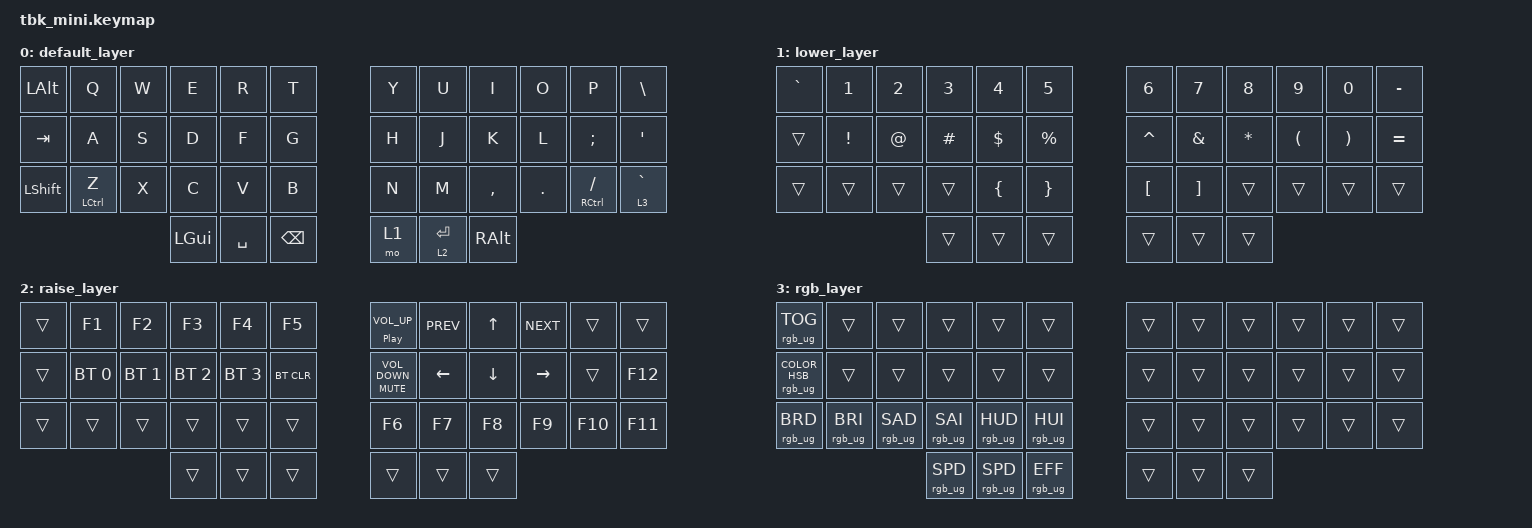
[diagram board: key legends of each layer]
#include <behaviors.dtsi>
#include <dt-bindings/zmk/bt.h>
#include <dt-bindings/zmk/keys.h>
#include <dt-bindings/zmk/rgb.h>

/ {
    combos {
        compatible = "zmk,combos";

        escape_combo {
            bindings = <&kp ESCAPE>;
            key-positions = <0 1>;
        };
    };

    behaviors {
        qrpi: qrpi {
            compatible = "zmk,behavior-hold-tap";
            label = "QRPI";
            bindings = <&kp>, <&kp>;

            #binding-cells = <2>;
            tapping-term-ms = <200>;
            require-prior-idle-ms = <150>;
            flavor = "tap-preferred";
        };
    };

    keymap {
        compatible = "zmk,keymap";

        default_layer {
            bindings = <
&kp LEFT_ALT    &kp Q                 &kp W  &kp E     &kp R      &kp T          &kp Y  &kp U      &kp I      &kp O    &kp P                    &kp BACKSLASH
&kp TAB         &kp A                 &kp S  &kp D     &kp F      &kp G          &kp H  &kp J      &kp K      &kp L    &kp SEMI                 &kp SQT
&kp LEFT_SHIFT  &qrpi LEFT_CONTROL Z  &kp X  &kp C     &kp V      &kp B          &kp N  &kp M      &kp COMMA  &kp DOT  &mt RIGHT_CONTROL SLASH  &lt 3 GRAVE
                                             &kp LGUI  &kp SPACE  &kp BACKSPACE  &mo 1  &lt 2 RET  &kp RALT
            >;
        };

        lower_layer {
            bindings = <
&kp GRAVE  &kp N1           &kp N2       &kp N3    &kp N4          &kp N5           &kp N6            &kp N7             &kp N8        &kp N9                &kp N0                 &kp MINUS
&trans     &kp EXCLAMATION  &kp AT_SIGN  &kp HASH  &kp DOLLAR      &kp PERCENT      &kp CARET         &kp AMPERSAND      &kp ASTERISK  &kp LEFT_PARENTHESIS  &kp RIGHT_PARENTHESIS  &kp EQUAL
&trans     &trans           &trans       &trans    &kp LEFT_BRACE  &kp RIGHT_BRACE  &kp LEFT_BRACKET  &kp RIGHT_BRACKET  &trans        &trans                &trans                 &trans
                                         &trans    &trans          &trans           &trans            &trans             &trans
            >;
        };

        raise_layer {
            bindings = <
&trans  &kp F1        &kp F2        &kp F3        &kp F4        &kp F5      &mt C_PLAY_PAUSE C_VOLUME_UP  &kp C_PREV      &kp UP    &kp C_NEXT       &trans   &trans
&trans  &bt BT_SEL 0  &bt BT_SEL 1  &bt BT_SEL 2  &bt BT_SEL 3  &bt BT_CLR  &mt C_MUTE C_VOLUME_DOWN      &kp LEFT_ARROW  &kp DOWN  &kp RIGHT_ARROW  &trans   &kp F12
&trans  &trans        &trans        &trans        &trans        &trans      &kp F6                        &kp F7          &kp F8    &kp F9           &kp F10  &kp F11
                                    &trans        &trans        &trans      &trans                        &trans          &trans
            >;
        };

        rgb_layer {
            bindings = <
&rgb_ug RGB_TOG                   &trans           &trans           &trans           &trans           &trans           &trans  &trans  &trans  &trans  &trans  &trans
&rgb_ug RGB_COLOR_HSB(184,76,39)  &trans           &trans           &trans           &trans           &trans           &trans  &trans  &trans  &trans  &trans  &trans
&rgb_ug RGB_BRD                   &rgb_ug RGB_BRI  &rgb_ug RGB_SAD  &rgb_ug RGB_SAI  &rgb_ug RGB_HUD  &rgb_ug RGB_HUI  &trans  &trans  &trans  &trans  &trans  &trans
                                                                    &rgb_ug RGB_SPD  &rgb_ug RGB_SPD  &rgb_ug RGB_EFF  &trans  &trans  &trans
            >;
        };
    };
};

&led_strip { chain-length = <21>; };
